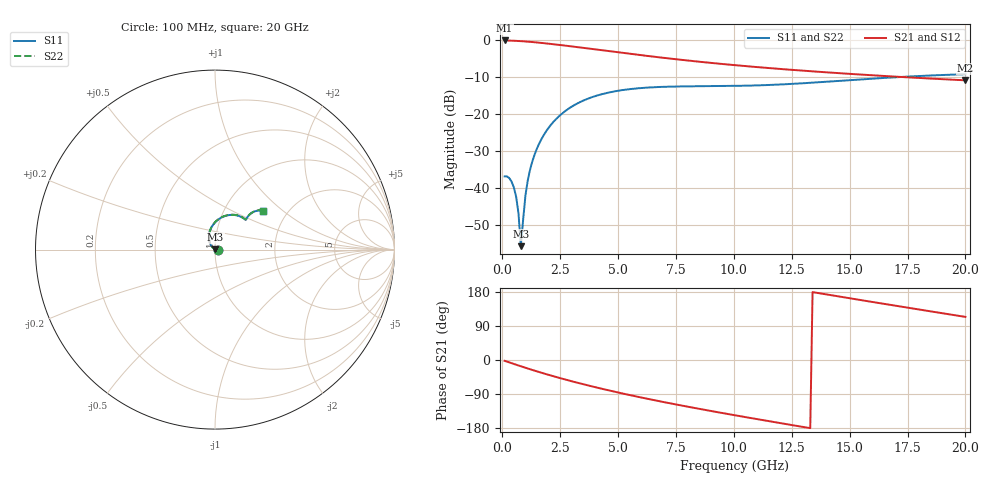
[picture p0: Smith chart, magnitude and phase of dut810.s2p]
! Touchstone file exported from HFSS 2024.1.0
!  File:  C:/UserFiles/LocalFiles/RDL_TSV_Batchsim/temp_RDL_TSV_810_1779912809.aedt
!  Generated:  04:32:36 AM May 28, 2026
!  Design:  RDL_TSV
!  Project:  temp_RDL_TSV_810_1779912809
!  Setup:  Setup1
!  Solution:  Sweep
! Variables:
!  dtsv = 9.41um
!  hbump = 3um
!  htsv = 97.12um
!  ldown = 544.92um
!  lrdl = 444.61um
!  p = 40
!  p1 = 48.26um
!  rhole = 10um
!  subl = 3413.2um
!  t = 450um
!  tdown = 4.89um
!  trdl = 4.04um
!  viad = 10um
!  wdown = 28.83um
!  wrdl = 17.13um
!  xbump = 18um
# GHz S MA R 50.000000
! Terminal data exported
! Port[1] = TM1_1_T1
! Port[2] = TM1_4_T1
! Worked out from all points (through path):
!   200 points, 100 MHz to 20 GHz, reference 50 ohm
!   highest |S21| = -0.13 dB at 100 MHz (marker M1); lowest = -10.9 dB at 20 GHz (marker M2)
!   group delay of S21, straight-line fit = 32.4 ps
!   lowest |S11| = -55.8 dB at 800 MHz (marker M3), VSWR 1.00, Z = 50.1 + j0.109 ohm
!   |S11| at or under -10 dB: start of sweep to 17.24 GHz
!   |S22| runs from -55.9 to -9.2 dB; largest |S21 - S12| = 5.4e-14
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0.1  0.01425 1.2  0.9852 -2.1  0.9852 -2.1  0.01425 1.2
! Gamma 0 0 0 0
! Port Impedance 50 0 50 0
0.3  0.01354 -2.0  0.9813 -6.3  0.9813 -6.3  0.01354 -2.0
0.4  0.01214 -4.4  0.9788 -8.4  0.9788 -8.4  0.01213 -4.4
0.5  0.0101 -6.3  0.9759 -10.5  0.9759 -10.5  0.01009 -6.3
0.6  0.007519 -6.6  0.9725 -12.5  0.9725 -12.5  0.007496 -6.6
0.7  0.004491 -2.0  0.9687 -14.5  0.9687 -14.5  0.00446 -1.9
0.8  0.001619 42.1  0.9645 -16.5  0.9645 -16.5  0.001598 43.4
1  0.007899 138.5  0.9548 -20.5  0.9548 -20.5  0.007964 138.7
1.1  0.01258 139.6  0.9495 -22.5  0.9495 -22.5  0.01266 139.7
1.3  0.02289 136.8  0.9379 -26.3  0.9379 -26.3  0.02301 136.9
1.5  0.03417 132.4  0.9253 -30.1  0.9253 -30.1  0.03432 132.5
1.9  0.0585 122.9  0.8982 -37.4  0.8982 -37.4  0.05873 123.0
2.3  0.08362 113.7  0.8695 -44.5  0.8695 -44.5  0.08395 113.7
2.8  0.114 103.0  0.8329 -52.9  0.8329 -52.9  0.1144 103.1
3.5  0.1514 90.0  0.782 -64.0  0.782 -64.0  0.152 90.1
5.1  0.2078 67.8  0.6749 -87.1  0.6749 -87.1  0.2087 67.9
6.8  0.2313 53.4  0.5811 -108.9  0.5811 -108.9  0.2324 53.5
8.4  0.2363 46.6  0.5118 -127.7  0.5118 -127.7  0.2375 46.6
10.1  0.239 44.3  0.4546 -146.4  0.4546 -146.4  0.2401 44.3
13.4  0.2645 45.3  0.376 179.1  0.376 179.1  0.2656 45.4
16.7  0.3093 43.7  0.3227 146.0  0.3227 146.0  0.3104 43.8
20  0.3442 39.0  0.2845 113.8  0.2845 113.8  0.3455 39.1
